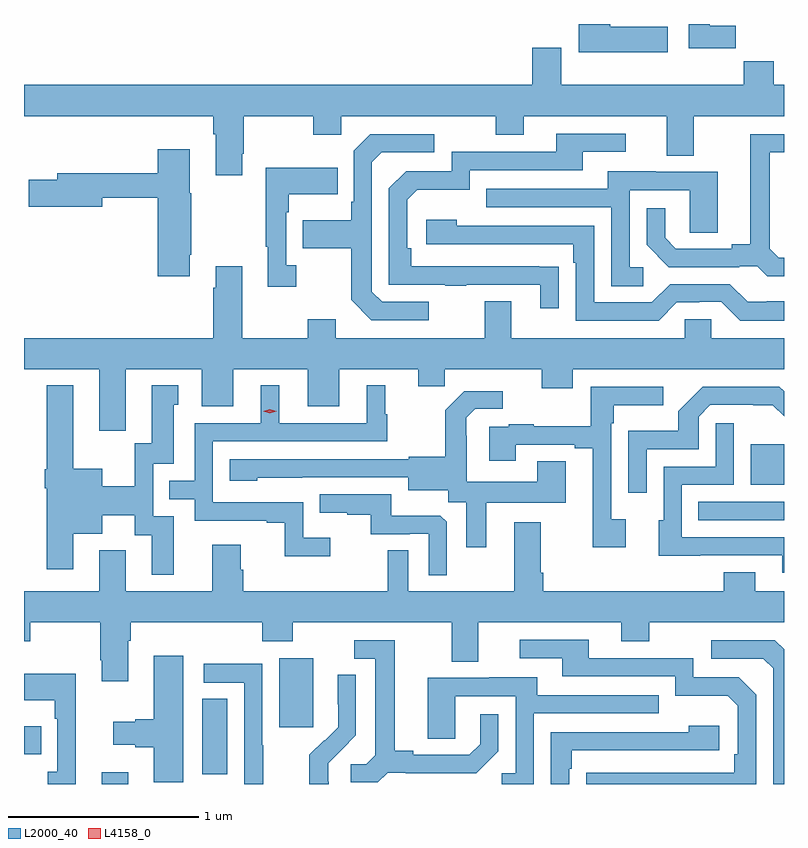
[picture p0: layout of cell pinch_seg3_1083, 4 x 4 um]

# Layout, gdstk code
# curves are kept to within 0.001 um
import gdstk
lib = gdstk.Library(unit=1e-6, precision=1e-09)
def R(c, l, rs):  # rectangles x0, y0, x1, y1
    for r in rs: c.add(gdstk.rectangle(r[:2], r[2:], *l))
def P(c, l, *ps):  # polygons
    for p in ps: c.add(gdstk.Polygon(p, *l))
L2000_40 = (2000, 40)
L4158_0 = (4158, 0)

pinch_seg3_1083 = lib.new_cell('pinch_seg3_1083')
R(pinch_seg3_1083, L2000_40, [(159.281,730.701,159.421,730.762), (159.812,730.753,159.943,731.15), (158.873,730.858,158.963,731.005), (160.217,731.001,160.396,731.362), (162.421,732.09,162.873,732.186), (162.698,732.275,162.873,732.49)])
P(pinch_seg3_1083, L2000_40, [(162.262,734.686),(161.958,734.686),(161.958,734.7),(161.944,734.7),(161.944,734.701),(161.792,734.701),(161.792,734.552),(162.262,734.552)],
  [(162.62,734.692),(162.481,734.692),(162.481,734.701),(162.371,734.701),(162.371,734.574),(162.62,734.574)],
  [(160.021,734.017),(160.029,734.017),(160.029,734.216),(160.396,734.216),(160.396,734.117),(160.542,734.117),(160.542,734.216),(161.356,734.216),(161.356,734.117),(161.503,734.117),(161.503,734.216),(162.257,734.216),(162.257,734.008),(162.397,734.008),(162.397,734.216),(162.873,734.216),(162.873,734.38),(162.818,734.38),(162.818,734.504),(162.661,734.504),(162.661,734.38),(161.701,734.38),(161.701,734.575),(161.549,734.575),(161.549,734.38),(158.873,734.38),(158.873,734.216),(159.869,734.216),(159.869,734.12),(159.881,734.12),(159.881,733.905),(160.021,733.905)],
  [(161.687,733.424),(160.91,733.425),(160.91,733.522),(160.89,733.522),(160.89,733.776),(160.943,733.829),(161.22,733.829),(161.22,733.932),(161.815,733.932),(161.815,734.028),(162.04,734.028),(162.04,734.124),(161.675,734.124),(161.675,734.028),(161.124,734.028),(161.124,733.926),(160.884,733.926),(160.794,733.836),(160.794,733.329),(161.089,733.329),(161.089,733.324),(161.201,733.324),(161.201,733.329),(161.591,733.329),(161.591,733.206),(161.687,733.206)],
  [(162.873,733.47),(162.846,733.47),(162.799,733.517),(162.799,734.025),(162.873,734.025),(162.873,734.121),(162.695,734.121),(162.695,733.541),(162.599,733.541),(162.599,733.518),(162.304,733.518),(162.247,733.575),(162.247,733.732),(162.15,733.732),(162.15,733.538),(162.266,733.422),(162.638,733.422),(162.638,733.425),(162.732,733.425),(162.784,733.373),(162.873,733.373)],
  [(161.002,733.239),(160.758,733.239),(160.704,733.293),(160.704,733.974),(160.755,734.025),(161.032,734.025),(161.032,734.121),(160.695,734.121),(160.608,734.034),(160.608,733.765),(160.596,733.765),(160.596,733.669),(160.339,733.669),(160.339,733.522),(160.596,733.522),(160.596,733.249),(160.701,733.143),(161.002,733.143)],
  [(159.745,733.486),(159.753,733.486),(159.753,733.809),(159.745,733.809),(159.745,734.041),(159.578,734.041),(159.578,733.915),(159.047,733.915),(159.047,733.881),(158.898,733.881),(158.898,733.739),(159.286,733.739),(159.286,733.786),(159.578,733.786),(159.578,733.374),(159.745,733.374)],
  [(160.306,733.43),(160.254,733.43),(160.254,733.709),(160.267,733.709),(160.267,733.805),(160.523,733.805),(160.523,733.945),(160.146,733.945),(160.146,733.529),(160.157,733.529),(160.157,733.317),(160.306,733.317)],
  [(162.133,733.422),(162.06,733.422),(162.06,733.827),(162.378,733.827),(162.378,733.603),(162.523,733.603),(162.523,733.923),(162.199,733.923),(162.199,733.927),(161.945,733.927),(161.945,733.833),(161.305,733.833),(161.305,733.737),(161.964,733.737),(161.964,733.321),(162.133,733.321)],
  [(162.873,733.243),(162.781,733.243),(162.781,733.239),(162.681,733.239),(162.588,733.332),(162.273,733.332),(162.177,733.236),(161.874,733.236),(161.874,733.638),(161.15,733.638),(161.15,733.672),(160.989,733.672),(160.989,733.542),(161.765,733.542),(161.765,733.445),(161.778,733.445),(161.778,733.14),(162.213,733.14),(162.309,733.236),(162.428,733.236),(162.428,733.239),(162.543,733.239),(162.643,733.139),(162.873,733.139)],
  [(159.409,732.884),(159.809,732.884),(159.809,732.69),(159.973,732.69),(159.973,732.884),(160.367,732.884),(160.367,732.69),(160.531,732.69),(160.531,732.884),(160.949,732.884),(160.949,732.794),(161.087,732.794),(161.087,732.884),(161.597,732.884),(161.597,732.785),(161.761,732.785),(161.761,732.884),(162.873,732.884),(162.873,733.048),(162.489,733.048),(162.489,733.146),(162.351,733.146),(162.351,733.048),(161.437,733.048),(161.437,733.243),(161.297,733.243),(161.297,733.048),(160.513,733.048),(160.513,733.147),(160.366,733.147),(160.366,733.048),(160.021,733.048),(160.021,733.426),(159.881,733.426),(159.881,733.313),(159.869,733.313),(159.869,733.048),(158.873,733.048),(158.873,732.884),(159.269,732.884),(159.269,732.561),(159.409,732.561)],
  [(159.661,732.111),(159.552,732.111),(159.552,732.387),(159.661,732.387),(159.661,732.696),(159.685,732.696),(159.685,732.799),(159.545,732.799),(159.545,732.495),(159.456,732.495),(159.456,732.268),(159.286,732.268),(159.286,732.361),(159.133,732.361),(159.133,732.799),(158.993,732.799),(158.993,732.357),(158.981,732.357),(158.981,732.257),(158.993,732.257),(158.993,731.832),(159.133,731.832),(159.133,732.017),(159.286,732.017),(159.286,732.116),(159.455,732.116),(159.455,732.01),(159.545,732.01),(159.545,731.802),(159.661,731.802)],
  [(160.486,731.998),(160.344,731.998),(160.344,732.183),(159.867,732.183),(159.867,732.504),(160.786,732.504),(160.786,732.648),(160.774,732.648),(160.774,732.799),(160.676,732.799),(160.676,732.6),(160.216,732.6),(160.216,732.799),(160.118,732.799),(160.118,732.6),(159.771,732.6),(159.771,732.297),(159.637,732.297),(159.637,732.201),(159.771,732.201),(159.771,732.087),(160.151,732.087),(160.151,732.075),(160.246,732.075),(160.246,731.9),(160.486,731.9)],
  [(162.04,732.094),(161.964,732.094),(161.964,732.599),(161.977,732.599),(161.977,732.695),(162.238,732.695),(162.238,732.792),(161.856,732.792),(161.856,732.584),(161.557,732.584),(161.557,732.595),(161.425,732.595),(161.425,732.582),(161.321,732.582),(161.321,732.402),(161.461,732.402),(161.461,732.486),(161.771,732.486),(161.771,732.468),(161.867,732.468),(161.867,731.946),(162.04,731.946)],
  [(162.15,732.462),(162.423,732.462),(162.423,732.633),(162.486,732.696),(162.815,732.695),(162.873,732.636),(162.873,732.768),(162.849,732.792),(162.446,732.792),(162.316,732.662),(162.316,732.559),(162.054,732.559),(162.054,732.234),(162.15,732.234)],
  [(161.305,732.182),(161.725,732.182),(161.725,732.401),(161.573,732.401),(161.573,732.292),(161.202,732.292),(161.202,732.533),(161.2,732.533),(161.2,732.628),(161.247,732.675),(161.392,732.675),(161.392,732.769),(161.191,732.769),(161.091,732.669),(161.091,732.424),(160.899,732.424),(160.899,732.411),(159.957,732.411),(159.957,732.296),(160.101,732.296),(160.101,732.314),(160.895,732.315),(160.895,732.248),(161.106,732.248),(161.106,732.184),(161.201,732.184),(161.201,731.946),(161.305,731.946)],
  [(162.873,732),(162.336,732),(162.336,732.276),(162.609,732.276),(162.609,732.601),(162.513,732.601),(162.513,732.372),(162.24,732.372),(162.24,732.09),(162.215,732.09),(162.215,731.903),(162.433,731.903),(162.433,731.904),(162.863,731.904),(162.863,731.814),(162.873,731.814)],
  [(161.097,732.081),(161.065,732.113),(160.807,732.113),(160.807,732.225),(160.429,732.225),(160.429,732.128),(160.573,732.128),(160.573,732.117),(160.697,732.117),(160.697,732.015),(160.904,732.015),(160.904,732.018),(161.004,732.018),(161.004,731.801),(161.097,731.801)],
  [(159.421,731.456),(159.434,731.456),(159.434,731.552),(160.127,731.552),(160.127,731.453),(160.287,731.453),(160.287,731.552),(161.123,731.552),(161.123,731.344),(161.263,731.344),(161.263,731.552),(162.017,731.552),(162.017,731.453),(162.165,731.453),(162.165,731.552),(162.873,731.552),(162.873,731.716),(162.721,731.716),(162.721,731.815),(162.557,731.815),(162.557,731.716),(161.606,731.716),(161.606,731.812),(161.593,731.812),(161.593,732.079),(161.453,732.079),(161.453,731.716),(160.896,731.716),(160.896,731.93),(160.788,731.93),(160.788,731.716),(160.028,731.716),(160.028,731.829),(160.015,731.829),(160.015,731.959),(159.863,731.959),(159.863,731.716),(159.409,731.716),(159.409,731.932),(159.269,731.932),(159.269,731.716),(158.873,731.716),(158.873,731.453),(158.907,731.453),(158.907,731.552),(159.274,731.552),(159.274,731.353),(159.281,731.353),(159.281,731.241),(159.421,731.241)],
  [(162.726,731.172),(162.636,731.262),(162.396,731.262),(162.396,731.364),(161.845,731.364),(161.845,731.46),(161.481,731.46),(161.481,731.364),(161.705,731.364),(161.705,731.268),(162.3,731.268),(162.3,731.165),(162.577,731.165),(162.63,731.112),(162.63,730.858),(162.61,730.858),(162.61,730.761),(161.833,730.76),(161.833,730.701),(162.726,730.701)],
  [(162.873,731.409),(162.825,731.457),(162.489,731.457),(162.489,731.361),(162.765,731.361),(162.816,731.31),(162.816,730.701),(162.873,730.701)],
  [(160.788,730.761),(160.882,730.761),(160.882,730.758),(161.254,730.758),(161.37,730.874),(161.37,731.068),(161.273,731.068),(161.273,730.911),(161.216,730.854),(160.921,730.854),(160.921,730.877),(160.825,730.877),(160.825,731.457),(160.611,731.457),(160.611,731.361),(160.721,731.361),(160.721,730.853),(160.674,730.806),(160.593,730.806),(160.593,730.709),(160.736,730.709)],
  [(159.712,731.377),(159.557,731.377),(159.557,731.042),(159.458,731.042),(159.458,731.029),(159.342,731.029),(159.342,730.907),(159.458,730.907),(159.458,730.895),(159.557,730.895),(159.557,730.71),(159.712,730.71)],
  [(160.131,730.904),(160.128,730.904),(160.128,731.334),(159.819,731.334),(159.819,731.235),(160.032,731.235),(160.032,730.701),(160.131,730.701)],
  [(159.146,731.281),(158.873,731.281),(158.873,731.141),(159.036,731.141),(159.036,731.045),(159.048,731.045),(159.048,730.766),(158.997,730.766),(158.997,730.701),(159.146,730.701)],
  [(160.476,730.713),(160.474,730.713),(160.474,730.81),(160.62,730.958),(160.62,731.276),(160.524,731.276),(160.524,731.122),(160.526,731.122),(160.526,731),(160.455,730.929),(160.452,730.932),(160.375,730.855),(160.375,730.701),(160.476,730.701)],
  [(161.556,731.073),(162.215,731.073),(162.215,731.169),(161.575,731.169),(161.575,731.263),(161.321,731.263),(161.321,731.259),(160.997,731.259),(160.997,730.939),(161.142,730.939),(161.142,731.163),(161.46,731.163),(161.46,730.758),(161.388,730.758),(161.388,730.701),(161.556,730.701)],
  [(161.742,730.781),(161.755,730.781),(161.755,730.878),(162.532,730.878),(162.532,731.008),(162.371,731.008),(162.371,730.974),(161.646,730.974),(161.646,730.701),(161.742,730.701)])
P(pinch_seg3_1083, L4158_0, [(160.167,732.653),(160.131,732.662),(160.131,732.662),(160.131,732.662),(160.167,732.673),(160.203,732.663),(160.203,732.663),(160.203,732.663)])

lib.write_gds('pinch_seg3_1083.gds')
